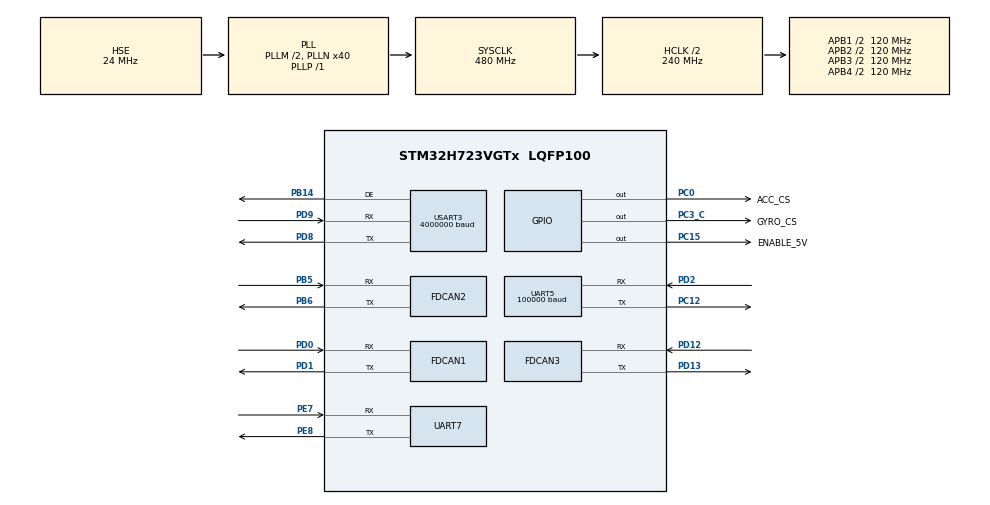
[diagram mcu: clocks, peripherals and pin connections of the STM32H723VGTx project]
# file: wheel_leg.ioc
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CORTEX_M7.default_mode_Activation=0
Dma.Request0=UART5_RX
Dma.Request1=UART7_TX
Dma.Request2=USART3_RX
Dma.UART5_RX.0.Direction=DMA_PERIPH_TO_MEMORY
Dma.UART5_RX.0.EventEnable=DISABLE
Dma.UART5_RX.0.FIFOMode=DMA_FIFOMODE_DISABLE
Dma.UART5_RX.0.Instance=DMA1_Stream0
Dma.UART5_RX.0.MemDataAlignment=DMA_MDATAALIGN_BYTE
Dma.UART5_RX.0.MemInc=DMA_MINC_ENABLE
Dma.UART5_RX.0.Mode=DMA_CIRCULAR
Dma.UART5_RX.0.PeriphDataAlignment=DMA_PDATAALIGN_BYTE
Dma.UART5_RX.0.PeriphInc=DMA_PINC_DISABLE
Dma.UART5_RX.0.Polarity=HAL_DMAMUX_REQ_GEN_RISING
Dma.UART5_RX.0.Priority=DMA_PRIORITY_VERY_HIGH
Dma.UART5_RX.0.RequestNumber=1
Dma.UART5_RX.0.SignalID=NONE
Dma.UART5_RX.0.SyncEnable=DISABLE
Dma.UART5_RX.0.SyncPolarity=HAL_DMAMUX_SYNC_NO_EVENT
Dma.UART5_RX.0.SyncRequestNumber=1
Dma.UART5_RX.0.SyncSignalID=NONE
Dma.UART7_TX.1.Direction=DMA_MEMORY_TO_PERIPH
Dma.UART7_TX.1.EventEnable=DISABLE
Dma.UART7_TX.1.FIFOMode=DMA_FIFOMODE_DISABLE
Dma.UART7_TX.1.Instance=DMA1_Stream2
Dma.UART7_TX.1.MemDataAlignment=DMA_MDATAALIGN_BYTE
Dma.UART7_TX.1.MemInc=DMA_MINC_ENABLE
Dma.UART7_TX.1.Mode=DMA_NORMAL
Dma.UART7_TX.1.PeriphDataAlignment=DMA_PDATAALIGN_BYTE
Dma.UART7_TX.1.PeriphInc=DMA_PINC_DISABLE
Dma.UART7_TX.1.Polarity=HAL_DMAMUX_REQ_GEN_RISING
Dma.UART7_TX.1.Priority=DMA_PRIORITY_LOW
Dma.UART7_TX.1.RequestNumber=1
Dma.UART7_TX.1.SignalID=NONE
Dma.UART7_TX.1.SyncEnable=DISABLE
Dma.UART7_TX.1.SyncPolarity=HAL_DMAMUX_SYNC_NO_EVENT
Dma.UART7_TX.1.SyncRequestNumber=1
Dma.UART7_TX.1.SyncSignalID=NONE
Dma.USART3_RX.2.Direction=DMA_PERIPH_TO_MEMORY
Dma.USART3_RX.2.EventEnable=DISABLE
Dma.USART3_RX.2.FIFOMode=DMA_FIFOMODE_DISABLE
Dma.USART3_RX.2.Instance=DMA1_Stream1
Dma.USART3_RX.2.MemDataAlignment=DMA_MDATAALIGN_BYTE
Dma.USART3_RX.2.MemInc=DMA_MINC_ENABLE
Dma.USART3_RX.2.Mode=DMA_CIRCULAR
Dma.USART3_RX.2.PeriphDataAlignment=DMA_PDATAALIGN_BYTE
Dma.USART3_RX.2.PeriphInc=DMA_PINC_DISABLE
Dma.USART3_RX.2.Polarity=HAL_DMAMUX_REQ_GEN_RISING
Dma.USART3_RX.2.Priority=DMA_PRIORITY_HIGH
Dma.USART3_RX.2.RequestNumber=1
Dma.USART3_RX.2.SignalID=NONE
Dma.USART3_RX.2.SyncEnable=DISABLE
Dma.USART3_RX.2.SyncPolarity=HAL_DMAMUX_SYNC_NO_EVENT
Dma.USART3_RX.2.SyncRequestNumber=1
Dma.USART3_RX.2.SyncSignalID=NONE
FDCAN1.CalculateBaudRateNominal=1000000
FDCAN1.CalculateTimeBitNominal=1000
FDCAN1.CalculateTimeQuantumNominal=40.0
FDCAN1.DataPrescaler=4
FDCAN1.DataSyncJumpWidth=1
FDCAN1.DataTimeSeg1=19
FDCAN1.DataTimeSeg2=5
FDCAN1.ExtFiltersNbr=5
FDCAN1.NominalPrescaler=4
FDCAN1.NominalSyncJumpWidth=1
FDCAN1.NominalTimeSeg1=19
FDCAN1.NominalTimeSeg2=5
FDCAN1.ProtocolException=DISABLE
FDCAN1.RxFifo0ElmtSize=FDCAN_DATA_BYTES_24
FDCAN1.RxFifo0ElmtsNbr=4
FDCAN1.RxFifo1ElmtSize=FDCAN_DATA_BYTES_24
FDCAN1.StdFiltersNbr=5
FDCAN1.TxElmtSize=FDCAN_DATA_BYTES_24
FDCAN1.TxFifoQueueElmtsNbr=8
FDCAN2.CalculateBaudRateNominal=1000000
FDCAN2.CalculateTimeBitNominal=1000
FDCAN2.CalculateTimeQuantumNominal=50.0
FDCAN2.DataPrescaler=5
FDCAN2.DataSyncJumpWidth=1
FDCAN2.DataTimeSeg1=14
FDCAN2.DataTimeSeg2=5
FDCAN2.ExtFiltersNbr=5
FDCAN2.MessageRAMOffset=854
FDCAN2.NominalPrescaler=5
FDCAN2.NominalSyncJumpWidth=1
FDCAN2.NominalTimeSeg1=14
FDCAN2.NominalTimeSeg2=5
FDCAN2.ProtocolException=DISABLE
FDCAN2.RxFifo0ElmtSize=FDCAN_DATA_BYTES_24
FDCAN2.RxFifo0ElmtsNbr=4
FDCAN2.StdFiltersNbr=5
FDCAN2.TxElmtSize=FDCAN_DATA_BYTES_24
FDCAN2.TxFifoQueueElmtsNbr=4
FDCAN3.CalculateBaudRateNominal=1000000
FDCAN3.CalculateTimeBitNominal=1000
FDCAN3.CalculateTimeQuantumNominal=40.0
FDCAN3.DataPrescaler=4
FDCAN3.DataTimeSeg1=19
FDCAN3.DataTimeSeg2=5
FDCAN3.ExtFiltersNbr=5
FDCAN3.MessageRAMOffset=256
FDCAN3.NominalPrescaler=4
FDCAN3.NominalTimeSeg1=19
FDCAN3.NominalTimeSeg2=5
FDCAN3.RxFifo0ElmtSize=FDCAN_DATA_BYTES_24
FDCAN3.RxFifo0ElmtsNbr=4
FDCAN3.RxFifo1ElmtSize=FDCAN_DATA_BYTES_24
FDCAN3.StdFiltersNbr=5
FDCAN3.TxElmtSize=FDCAN_DATA_BYTES_24
FDCAN3.TxFifoQueueElmtsNbr=8
FREERTOS.Tasks01=defaultTask,0,128,StartDefaultTask,Default,NULL,Dynamic,NULL,NULL;ChassisTask,2,512,StartChassisTask,Default,NULL,Dynamic,NULL,NULL
Mcu.Family=STM32H7
Mcu.Name=STM32H723VGTx
Mcu.Package=LQFP100
NVIC.DMA1_Stream0_IRQn=true\:5\:0\:false\:false\:true\:true\:false\:true\:true
NVIC.DMA1_Stream1_IRQn=true\:5\:0\:false\:false\:true\:true\:false\:true\:true
NVIC.DMA1_Stream2_IRQn=true\:5\:0\:false\:false\:true\:false\:false\:true\:true
NVIC.FDCAN1_IT0_IRQn=true\:5\:0\:false\:false\:true\:true\:true\:true\:true
NVIC.FDCAN2_IT0_IRQn=true\:5\:0\:false\:false\:true\:true\:true\:true\:true
NVIC.FDCAN3_IT0_IRQn=true\:5\:0\:false\:false\:true\:true\:true\:true\:true
NVIC.PriorityGroup=NVIC_PRIORITYGROUP_4
NVIC.TIM2_IRQn=true\:15\:0\:false\:false\:true\:false\:false\:true\:true
NVIC.TimeBase=TIM2_IRQn
NVIC.TimeBaseIP=TIM2
NVIC.UART5_IRQn=true\:5\:0\:false\:false\:true\:true\:true\:true\:true
NVIC.UART7_IRQn=true\:5\:0\:false\:false\:true\:true\:true\:true\:true
NVIC.USART3_IRQn=true\:5\:0\:false\:false\:true\:true\:true\:true\:true
PA10.Signal=USART1_RX
PA13(JTMS/SWDIO).Mode=Serial_Wire
PA13(JTMS/SWDIO).Signal=DEBUG_JTMS-SWDIO
PA14(JTCK/SWCLK).Mode=Serial_Wire
PA14(JTCK/SWCLK).Signal=DEBUG_JTCK-SWCLK
PA9.Signal=USART1_TX
PB13.Signal=SPI2_SCK
PB14.Mode=Hardware Flow Control (RS485)
PB14.Signal=USART3_DE
PB5.Mode=FDCAN_Activate
PB5.Signal=FDCAN2_RX
PB6.Mode=FDCAN_Activate
PB6.Signal=FDCAN2_TX
PC0.GPIO_Label=ACC_CS
PC0.GPIO_Speed=GPIO_SPEED_FREQ_VERY_HIGH
PC0.PinState=GPIO_PIN_SET
PC0.Signal=GPIO_Output
PC12.Mode=Asynchronous
PC12.Signal=UART5_TX
PC15-OSC32_OUT.GPIO_Label=ENABLE_5V
PC15-OSC32_OUT.PinState=GPIO_PIN_SET
PC15-OSC32_OUT.Signal=GPIO_Output
PC3_C.GPIO_Label=GYRO_CS
PC3_C.GPIO_Speed=GPIO_SPEED_FREQ_VERY_HIGH
PC3_C.PinState=GPIO_PIN_SET
PC3_C.Signal=GPIO_Output
PD0.Mode=FDCAN_Activate
PD0.Signal=FDCAN1_RX
PD1.Mode=FDCAN_Activate
PD1.Signal=FDCAN1_TX
PD12.Mode=FDCAN_Activate
PD12.Signal=FDCAN3_RX
PD13.Mode=FDCAN_Activate
PD13.Signal=FDCAN3_TX
PD2.Mode=Asynchronous
PD2.Signal=UART5_RX
PD4.Signal=USART2_DE
PD5.Signal=USART2_TX
PD6.Signal=USART2_RX
PD8.Mode=Asynchronous
PD8.Signal=USART3_TX
PD9.Mode=Asynchronous
PD9.Signal=USART3_RX
PE7.Mode=Asynchronous
PE7.Signal=UART7_RX
PE8.Mode=Asynchronous
PE8.Signal=UART7_TX
PH0-OSC_IN.Mode=HSE-External-Oscillator
PH0-OSC_IN.Signal=RCC_OSC_IN
PH1-OSC_OUT.Mode=HSE-External-Oscillator
PH1-OSC_OUT.Signal=RCC_OSC_OUT
ProjectManager.HeapSize=0x200
ProjectManager.StackSize=0x400
ProjectManager.TargetToolchain=CMake
RCC.ADCFreq_Value=100000000
RCC.APB1Freq_Value=120000000
RCC.APB2Freq_Value=120000000
RCC.APB3Freq_Value=120000000
RCC.APB4Freq_Value=120000000
RCC.CortexFreq_Value=480000000
RCC.D1PPRE=RCC_APB3_DIV2
RCC.D2PPRE1=RCC_APB1_DIV2
RCC.D2PPRE2=RCC_APB2_DIV2
RCC.D3PPRE=RCC_APB4_DIV2
RCC.DIVM1=2
RCC.DIVM2=24
RCC.DIVN1=40
RCC.DIVN2=200
RCC.DIVP1=1
RCC.DIVQ1=4
RCC.FDCANCLockSelection=RCC_FDCANCLKSOURCE_PLL2
RCC.HCLKFreq_Value=240000000
RCC.HPRE=RCC_HCLK_DIV2
RCC.HSE_VALUE=24000000
RCC.PLLSourceVirtual=RCC_PLLSOURCE_HSE
RCC.SYSCLKFreq_VALUE=480000000
RCC.SYSCLKSource=RCC_SYSCLKSOURCE_PLLCLK
RCC.USBFreq_Value=120000000
STMicroelectronics.X-CUBE-ALGOBUILD.1.4.0.LibraryCcDSPOoLibraryJjDSPOoLibrary=true
UART5.BaudRate=100000
UART5.Parity=PARITY_EVEN
UART5.StopBits=UART_STOPBITS_2
UART5.WordLength=WORDLENGTH_9B
USART3.BaudRate=4000000
USART3.VirtualMode-Asynchronous=VM_ASYNC
USART3.VirtualMode-Hardware\ Flow\ Control\ (RS485)=VM_ASYNC
VP_FREERTOS_VS_CMSIS_V1.Mode=CMSIS_V1
VP_MEMORYMAP_VS_MEMORYMAP.Mode=CurAppReg
VP_STMicroelectronics.X-CUBE-ALGOBUILD_VS_DSPOoLibraryJjLibrary_1.4.0_1.4.0.Mode=DSPOoLibraryJjLibrary
VP_SYS_VS_tim2.Mode=TIM2
board=custom

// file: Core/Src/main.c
/* USER CODE BEGIN Header */
/**
  ******************************************************************************
  * @file           : main.c
  * @brief          : Main program body
  ******************************************************************************
  * @attention
  *
  * Copyright (c) 2025 STMicroelectronics.
  * All rights reserved.
  *
  * This software is licensed under terms that can be found in the LICENSE file
  * in the root directory of this software component.
  * If no LICENSE file comes with this software, it is provided AS-IS.
  *
  ******************************************************************************
  */
/* USER CODE END Header */
#include "main.h"
#include "cmsis_os.h"
#include "dma.h"
#include "fdcan.h"
#include "memorymap.h"
#include "usart.h"
#include "gpio.h"

/* USER CODE BEGIN Includes */
#include <string.h>
#include "bsp_can.h"
#include "bsp_usart.h"
#include "vofa.h"
#include "bsp_dwt.h"
#include "dm_imu.h"
/* USER CODE END Includes */

void SystemClock_Config(void);
void PeriphCommonClock_Config(void);
void MX_FREERTOS_Init(void);

int main(void)
{

  /* MCU Configuration--------------------------------------------------------*/

  /* Reset of all peripherals, Initializes the Flash interface and the Systick. */
  HAL_Init();

  /* Configure the system clock */
  SystemClock_Config();

  /* Configure the peripherals common clocks */
  PeriphCommonClock_Config();

  /* Initialize all configured peripherals */
  MX_GPIO_Init();
  MX_DMA_Init();
  MX_UART5_Init();
  MX_FDCAN1_Init();
  MX_FDCAN2_Init();
  MX_FDCAN3_Init();
  MX_UART7_Init();
  MX_USART3_UART_Init();
  /* USER CODE BEGIN 2 */
    DWT_Init(480);

    // CAN Filter Init
    bsp_can_init();

    // SBUS Double Buffer Init
    USART_RxDMA_MultiBuffer_Init(&huart5, (uint32_t *) SBUS_MultiRx_Buf[0], (uint32_t *) SBUS_MultiRx_Buf[1],
                                 SBUS_RX_BUF_NUM);

    // DM_IMU Init
    DM_IMU_Init();

  /* USER CODE END 2 */

  /* Call init function for freertos objects (in cmsis_os2.c) */
  MX_FREERTOS_Init();

  /* Start scheduler */
  osKernelStart();

  /* We should never get here as control is now taken by the scheduler */

  /* Infinite loop */
    while (1) {

    }
}

void SystemClock_Config(void)
{
  RCC_OscInitTypeDef RCC_OscInitStruct = {0};
  RCC_ClkInitTypeDef RCC_ClkInitStruct = {0};

  /** Supply configuration update enable
  */
  HAL_PWREx_ConfigSupply(PWR_LDO_SUPPLY);

  /** Configure the main internal regulator output voltage
  */
  __HAL_PWR_VOLTAGESCALING_CONFIG(PWR_REGULATOR_VOLTAGE_SCALE0);

  while(!__HAL_PWR_GET_FLAG(PWR_FLAG_VOSRDY)) {}

  /** Initializes the RCC Oscillators according to the specified parameters
  * in the RCC_OscInitTypeDef structure.
  */
  RCC_OscInitStruct.OscillatorType = RCC_OSCILLATORTYPE_HSE;
  RCC_OscInitStruct.HSEState = RCC_HSE_ON;
  RCC_OscInitStruct.PLL.PLLState = RCC_PLL_ON;
  RCC_OscInitStruct.PLL.PLLSource = RCC_PLLSOURCE_HSE;
  RCC_OscInitStruct.PLL.PLLM = 2;
  RCC_OscInitStruct.PLL.PLLN = 40;
  RCC_OscInitStruct.PLL.PLLP = 1;
  RCC_OscInitStruct.PLL.PLLQ = 4;
  RCC_OscInitStruct.PLL.PLLR = 2;
  RCC_OscInitStruct.PLL.PLLRGE = RCC_PLL1VCIRANGE_3;
  RCC_OscInitStruct.PLL.PLLVCOSEL = RCC_PLL1VCOWIDE;
  RCC_OscInitStruct.PLL.PLLFRACN = 0;
  if (HAL_RCC_OscConfig(&RCC_OscInitStruct) != HAL_OK)
  {
    Error_Handler();
  }

  /** Initializes the CPU, AHB and APB buses clocks
  */
  RCC_ClkInitStruct.ClockType = RCC_CLOCKTYPE_HCLK|RCC_CLOCKTYPE_SYSCLK
                              |RCC_CLOCKTYPE_PCLK1|RCC_CLOCKTYPE_PCLK2
                              |RCC_CLOCKTYPE_D3PCLK1|RCC_CLOCKTYPE_D1PCLK1;
  RCC_ClkInitStruct.SYSCLKSource = RCC_SYSCLKSOURCE_PLLCLK;
  RCC_ClkInitStruct.SYSCLKDivider = RCC_SYSCLK_DIV1;
  RCC_ClkInitStruct.AHBCLKDivider = RCC_HCLK_DIV2;
  RCC_ClkInitStruct.APB3CLKDivider = RCC_APB3_DIV2;
  RCC_ClkInitStruct.APB1CLKDivider = RCC_APB1_DIV2;
  RCC_ClkInitStruct.APB2CLKDivider = RCC_APB2_DIV2;
  RCC_ClkInitStruct.APB4CLKDivider = RCC_APB4_DIV2;

  if (HAL_RCC_ClockConfig(&RCC_ClkInitStruct, FLASH_LATENCY_3) != HAL_OK)
  {
    Error_Handler();
  }
}

void PeriphCommonClock_Config(void)
{
  RCC_PeriphCLKInitTypeDef PeriphClkInitStruct = {0};

  /** Initializes the peripherals clock
  */
  PeriphClkInitStruct.PeriphClockSelection = RCC_PERIPHCLK_FDCAN;
  PeriphClkInitStruct.PLL2.PLL2M = 24;
  PeriphClkInitStruct.PLL2.PLL2N = 200;
  PeriphClkInitStruct.PLL2.PLL2P = 2;
  PeriphClkInitStruct.PLL2.PLL2Q = 2;
  PeriphClkInitStruct.PLL2.PLL2R = 2;
  PeriphClkInitStruct.PLL2.PLL2RGE = RCC_PLL2VCIRANGE_0;
  PeriphClkInitStruct.PLL2.PLL2VCOSEL = RCC_PLL2VCOMEDIUM;
  PeriphClkInitStruct.PLL2.PLL2FRACN = 0;
  PeriphClkInitStruct.FdcanClockSelection = RCC_FDCANCLKSOURCE_PLL2;
  if (HAL_RCCEx_PeriphCLKConfig(&PeriphClkInitStruct) != HAL_OK)
  {
    Error_Handler();
  }
}

void HAL_TIM_PeriodElapsedCallback(TIM_HandleTypeDef *htim)
{
  if (htim->Instance == TIM2)
  {
    HAL_IncTick();
  }
}

void Error_Handler(void)
{
    __disable_irq();
    while (1) {
    }
}

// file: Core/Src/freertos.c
/* USER CODE BEGIN Header */
/**
  ******************************************************************************
  * File Name          : freertos.c
  * Description        : Code for freertos applications
  ******************************************************************************
  * @attention
  *
  * Copyright (c) 2025 STMicroelectronics.
  * All rights reserved.
  *
  * This software is licensed under terms that can be found in the LICENSE file
  * in the root directory of this software component.
  * If no LICENSE file comes with this software, it is provided AS-IS.
  *
  ******************************************************************************
  */
/* USER CODE END Header */

#include "FreeRTOS.h"
#include "task.h"
#include "main.h"
#include "cmsis_os.h"

/* USER CODE BEGIN Includes */
#include "robot_def.h"
#include "chassis_task.h"
#include "vofa.h"
#include "dm_imu.h"
/* USER CODE END Includes */

osThreadId defaultTaskHandle;
osThreadId ChassisTaskHandle;

void StartDefaultTask(void const * argument);
void StartChassisTask(void const * argument);

void MX_FREERTOS_Init(void); /* (MISRA C 2004 rule 8.1) */

/* GetIdleTaskMemory prototype (linked to static allocation support) */
void vApplicationGetIdleTaskMemory( StaticTask_t **ppxIdleTaskTCBBuffer, StackType_t **ppxIdleTaskStackBuffer, uint32_t *pulIdleTaskStackSize );

/* USER CODE BEGIN GET_IDLE_TASK_MEMORY */
static StaticTask_t xIdleTaskTCBBuffer;
static StackType_t xIdleStack[configMINIMAL_STACK_SIZE];

void vApplicationGetIdleTaskMemory(StaticTask_t **ppxIdleTaskTCBBuffer, StackType_t **ppxIdleTaskStackBuffer,
                                   uint32_t *pulIdleTaskStackSize) {
    *ppxIdleTaskTCBBuffer = &xIdleTaskTCBBuffer;
    *ppxIdleTaskStackBuffer = &xIdleStack[0];
    *pulIdleTaskStackSize = configMINIMAL_STACK_SIZE;
    /* place for user code */
}
/* USER CODE END GET_IDLE_TASK_MEMORY */

void MX_FREERTOS_Init(void) {

  /* Create the thread(s) */
  /* definition and creation of defaultTask */
  osThreadDef(defaultTask, StartDefaultTask, osPriorityNormal, 0, 128);
  defaultTaskHandle = osThreadCreate(osThread(defaultTask), NULL);

  /* definition and creation of ChassisTask */
  osThreadDef(ChassisTask, StartChassisTask, osPriorityHigh, 0, 512);
  ChassisTaskHandle = osThreadCreate(osThread(ChassisTask), NULL);

}

void StartDefaultTask(void const * argument)
{
    for (;;) {
        osDelay(1);
    }
}

void StartChassisTask(void const * argument)
{
  /* USER CODE BEGIN StartChassisTask */
    osDelay(1500);

    chassis_init();
    /* Infinite loop */
    for (;;) {
        chassis_task();

        osDelay(CHASSIS_PERIOD);
    }
  /* USER CODE END StartChassisTask */
}
